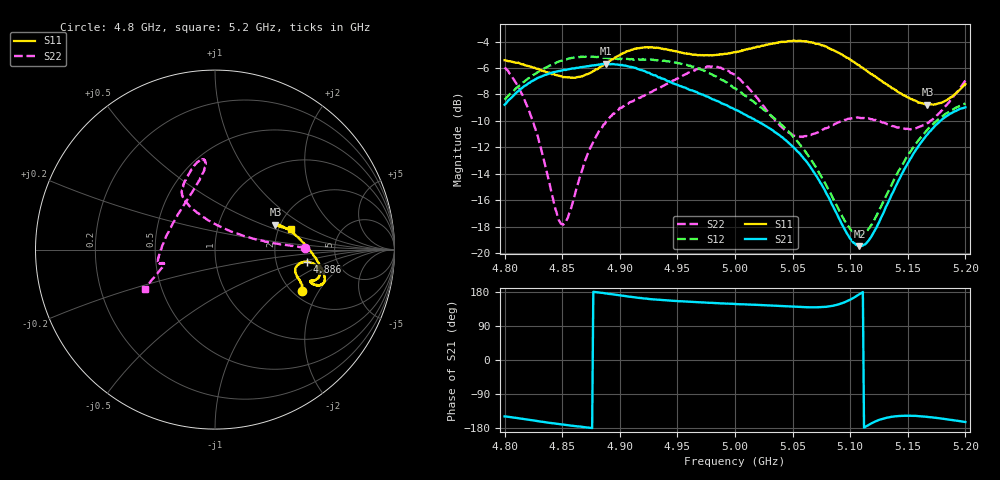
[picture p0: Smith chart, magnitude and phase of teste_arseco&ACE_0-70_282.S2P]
! Network Analyzer HP8722D
! Hewlett-Packard
! Data name: Linha & Wilkinson
! Saver's name: Rodrigo Anjos
! Comments: Teste da utilização de aquisição
! continua pelo VNA HP8722D
! Time and date: 8/5/2025 15:06
!  Frequency  S11  S21  S12  S22
# HZ  S  MA R 50
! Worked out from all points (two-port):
!   401 points, 4.8 GHz to 5.2 GHz, reference 50 ohm
!   highest |S21| = -5.67 dB at 4.888 GHz (marker M1); lowest = -19.5 dB at 5.108 GHz (marker M2)
!   |S21| within 3 dB of the highest: 4.801 GHz to 4.988 GHz (187.3 MHz wide, 3.83 % of centre)
!   lowest |S11| = -8.8 dB at 5.167 GHz (marker M3), VSWR 2.15, Z = 94.5 + j30.2 ohm
!   |S11| at or under -10 dB: nowhere
!   |S22| runs from -17.8 to -5.9 dB; largest |S21 - S12| = 1.1
!   S11 on the Smith chart (normalised r, x): 4.8 GHz: 2.25, -1.44; 4.886 GHz: 3.02, -0.55; 5.2 GHz: 2.33, +0.65
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4.8e9  0.5363 -25.2  0.3642 -148.8  0.3805 10.9  0.5031 1.3
4.812e9  0.5253 -22.1  0.4102 -153.5  0.4272 8.9  0.4235 2.8
4.823e9  0.5066 -20.4  0.4454 -158.6  0.4652 7.5  0.3287 6.2
4.845e9  0.4711 -16.7  0.4856 -168.3  0.5262 4.0  0.1433 41.5
4.849e9  0.4661 -16.0  0.4903 -170.0  0.5336 3.1  0.1292 59.1
4.855e9  0.4622 -14.2  0.4953 -172.2  0.5432 2.3  0.1366 85.1
4.867e9  0.4654 -11.0  0.5051 -176.5  0.5517 0.5  0.2047 112.2
4.886e9  0.5165 -7.4  0.5185 176.6  0.5473 -0.8  0.307 121.1
4.888e9  0.5227 -7.6  0.5204 175.6  0.5475 -0.9  0.3144 121.3
4.912e9  0.5905 -10.6  0.5029 165.8  0.5383 -0.4  0.3765 119.4
4.934e9  0.596 -15.6  0.4614 158.7  0.5367 -1.2  0.4204 113.0
4.976e9  0.5606 -18.5  0.391 151.4  0.483 -5.1  0.5085 99.0
5e9  0.5752 -19.2  0.3492 147.8  0.4211 -5.2  0.4722 96.8
5.044e9  0.6297 -17.6  0.2677 141.7  0.2946 3.0  0.2907 131.4
5.067e9  0.6248 -13.3  0.2073 139.1  0.2224 9.5  0.2819 164.4
5.097e9  0.5479 -3.3  0.1192 154.8  0.1292 35.5  0.3207 -171.2
5.108e9  0.5126 1.9  0.1064 173.8  0.1169 56.7  0.3251 -167.5
5.118e9  0.4753 6.8  0.115 -167.8  0.1274 76.3  0.3209 -166.0
5.134e9  0.4277 14.5  0.1592 -150.9  0.1746 94.8  0.3057 -165.9
5.167e9  0.3644 22.4  0.2809 -150.1  0.2932 102.5  0.3106 -161.4
5.182e9  0.376 20.5  0.3259 -155.7  0.3341 102.7  0.3564 -157.0
5.2e9  0.4358 14.9  0.356 -163.6  0.3689 103.0  0.4493 -150.5
